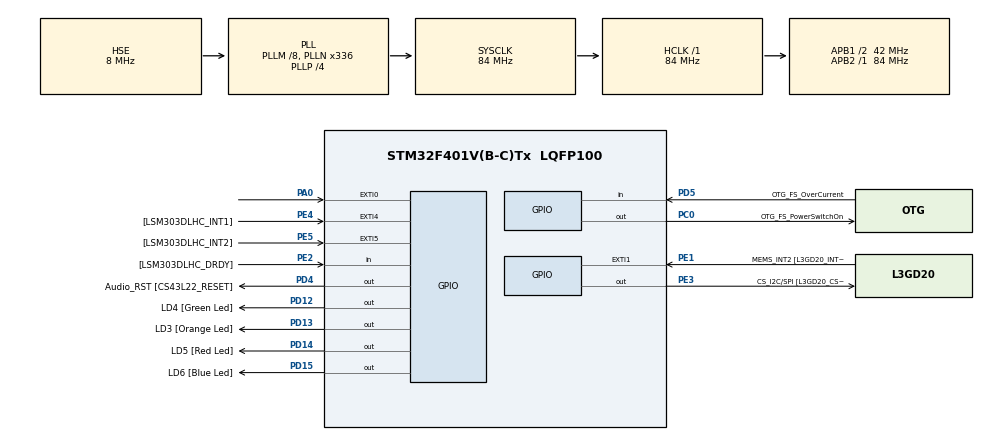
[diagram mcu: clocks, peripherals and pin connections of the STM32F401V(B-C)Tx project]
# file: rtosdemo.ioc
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Mcu.Family=STM32F4
Mcu.Name=STM32F401V(B-C)Tx
Mcu.Package=LQFP100
NVIC.EXTI0_IRQn=true\:0\:0\:false
NVIC.PriorityGroup=NVIC_PRIORITYGROUP_0
PA0-WKUP.Signal=GPXTI0
PA10.GPIO_Label=OTG_FS_ID
PA10.GPIO_Mode=GPIO_MODE_AF_PP
PA10.GPIO_PuPd=GPIO_NOPULL
PA10.GPIO_Speed=GPIO_SPEED_HIGH
PA10.Signal=USB_OTG_FS_ID
PA11.GPIO_Label=OTG_FS_DM
PA11.GPIO_Mode=GPIO_MODE_AF_PP
PA11.GPIO_PuPd=GPIO_NOPULL
PA11.GPIO_Speed=GPIO_SPEED_HIGH
PA11.Signal=USB_OTG_FS_DM
PA12.GPIO_Label=OTG_FS_DP
PA12.GPIO_Mode=GPIO_MODE_AF_PP
PA12.GPIO_PuPd=GPIO_NOPULL
PA12.GPIO_Speed=GPIO_SPEED_HIGH
PA12.Signal=USB_OTG_FS_DP
PA13.GPIO_Label=SWDIO
PA13.Signal=SYS_JTMS-SWDIO
PA14.GPIO_Label=SWCLK
PA14.Signal=SYS_JTCK-SWCLK
PA4.GPIO_Label=I2S3_WS [CS43L22_LRCK]
PA4.GPIO_Mode=GPIO_MODE_AF_PP
PA4.GPIO_PuPd=GPIO_NOPULL
PA4.GPIO_Speed=GPIO_SPEED_LOW
PA4.Signal=I2S3_WS
PA5.GPIO_Label=SPI1_SCK [L3GD20_SC/SPC]
PA5.GPIO_Mode=GPIO_MODE_AF_PP
PA5.GPIO_PuPd=GPIO_NOPULL
PA5.GPIO_Speed=GPIO_SPEED_HIGH
PA5.Signal=SPI1_SCK
PA6.GPIO_Label=SPI1_MISO [L3GD20_AS0/SDO]
PA6.GPIO_Mode=GPIO_MODE_AF_PP
PA6.GPIO_PuPd=GPIO_NOPULL
PA6.GPIO_Speed=GPIO_SPEED_HIGH
PA6.Signal=SPI1_MISO
PA7.GPIO_Label=SPI1_MISO [L3GD20_SDA/SDI/SDO]
PA7.GPIO_Mode=GPIO_MODE_AF_PP
PA7.GPIO_PuPd=GPIO_NOPULL
PA7.GPIO_Speed=GPIO_SPEED_HIGH
PA7.Signal=SPI1_MOSI
PA9.GPIO_Label=VBUS_FS
PA9.GPIO_Mode=GPIO_MODE_INPUT
PA9.GPIO_PuPd=GPIO_NOPULL
PA9.Signal=USB_OTG_FS_VBUS
PB10.GPIO_Label=CLK_IN [MP45DT02_CLK]
PB10.GPIO_Mode=GPIO_MODE_AF_PP
PB10.GPIO_PuPd=GPIO_NOPULL
PB10.GPIO_Speed=GPIO_SPEED_LOW
PB10.Signal=I2S2_CK
PB12.Signal=I2S2_WS
PB3.GPIO_Label=SWO
PB3.Signal=SYS_JTDO-SWO
PB6.GPIO_Label=Audio_SCL [CS43L22_SCL]
PB6.GPIO_Mode=GPIO_MODE_AF_OD
PB6.GPIO_PuPd=GPIO_NOPULL
PB6.GPIO_PuPdOD=GPIO_PULLUP
PB6.GPIO_Speed=GPIO_SPEED_LOW
PB6.Signal=I2C1_SCL
PB9.GPIO_Label=Audio_SDA [CS43L22_SDA]
PB9.GPIO_Mode=GPIO_MODE_AF_OD
PB9.GPIO_PuPd=GPIO_NOPULL
PB9.GPIO_PuPdOD=GPIO_PULLUP
PB9.GPIO_Speed=GPIO_SPEED_LOW
PB9.Signal=I2C1_SDA
PC0.GPIO_Label=OTG_FS_PowerSwitchOn
PC0.GPIO_ModeDefaultOutputPP=GPIO_MODE_OUTPUT_PP
PC0.GPIO_PuPd=GPIO_NOPULL
PC0.GPIO_Speed=GPIO_SPEED_LOW
PC0.Signal=GPIO_Output
PC10.GPIO_Label=I2S3_SCK [CS43L22_SCLK]
PC10.GPIO_Mode=GPIO_MODE_AF_PP
PC10.GPIO_PuPd=GPIO_NOPULL
PC10.GPIO_Speed=GPIO_SPEED_LOW
PC10.Signal=I2S3_CK
PC12.GPIO_Label=I2S3_SD [CS43L22_SDIN]
PC12.GPIO_Mode=GPIO_MODE_AF_PP
PC12.GPIO_PuPd=GPIO_NOPULL
PC12.GPIO_Speed=GPIO_SPEED_LOW
PC12.Signal=I2S3_SD
PC14-OSC32_IN.GPIO_Label=PC14-OSC32_IN
PC14-OSC32_IN.Mode=LSE-External-Oscillator
PC14-OSC32_IN.Signal=RCC_OSC32_IN
PC15-OSC32_OUT.GPIO_Label=PC15-OSC32_OUT
PC15-OSC32_OUT.Mode=LSE-External-Oscillator
PC15-OSC32_OUT.Signal=RCC_OSC32_OUT
PC3.GPIO_Label=PDM_OUT [MP45DT02_DOUT]
PC3.GPIO_Mode=GPIO_MODE_AF_PP
PC3.GPIO_PuPd=GPIO_NOPULL
PC3.GPIO_Speed=GPIO_SPEED_LOW
PC3.Signal=I2S2_SD
PC7.GPIO_Label=I2S3_MCK [CS43L22_MCLK]
PC7.GPIO_Mode=GPIO_MODE_AF_PP
PC7.GPIO_PuPd=GPIO_NOPULL
PC7.GPIO_Speed=GPIO_SPEED_LOW
PC7.Signal=I2S3_MCK
PD12.GPIO_Label=LD4 [Green Led]
PD12.GPIO_ModeDefaultOutputPP=GPIO_MODE_OUTPUT_PP
PD12.GPIO_PuPd=GPIO_NOPULL
PD12.GPIO_Speed=GPIO_SPEED_LOW
PD12.Signal=GPIO_Output
PD13.GPIO_Label=LD3 [Orange Led]
PD13.GPIO_ModeDefaultOutputPP=GPIO_MODE_OUTPUT_PP
PD13.GPIO_PuPd=GPIO_NOPULL
PD13.GPIO_Speed=GPIO_SPEED_LOW
PD13.Signal=GPIO_Output
PD14.GPIO_Label=LD5 [Red Led]
PD14.GPIO_ModeDefaultOutputPP=GPIO_MODE_OUTPUT_PP
PD14.GPIO_PuPd=GPIO_NOPULL
PD14.GPIO_Speed=GPIO_SPEED_LOW
PD14.Signal=GPIO_Output
PD15.GPIO_Label=LD6 [Blue Led]
PD15.GPIO_ModeDefaultOutputPP=GPIO_MODE_OUTPUT_PP
PD15.GPIO_PuPd=GPIO_NOPULL
PD15.GPIO_Speed=GPIO_SPEED_LOW
PD15.Signal=GPIO_Output
PD4.GPIO_Label=Audio_RST [CS43L22_RESET]
PD4.GPIO_ModeDefaultOutputPP=GPIO_MODE_OUTPUT_PP
PD4.GPIO_PuPd=GPIO_NOPULL
PD4.GPIO_Speed=GPIO_SPEED_LOW
PD4.Signal=GPIO_Output
PD5.GPIO_Label=OTG_FS_OverCurrent
PD5.GPIO_Mode=GPIO_MODE_INPUT
PD5.GPIO_PuPd=GPIO_NOPULL
PD5.Signal=GPIO_Input
PE1.GPIO_Label=MEMS_INT2 [L3GD20_INT2]
PE1.GPIO_ModeDefaultEXTI=GPIO_MODE_EVT_RISING
PE1.GPIO_PuPd=GPIO_NOPULL
PE1.Signal=GPXTI1
PE2.GPIO_Label=[LSM303DLHC_DRDY]
PE2.GPIO_Mode=GPIO_MODE_INPUT
PE2.GPIO_PuPd=GPIO_NOPULL
PE2.Signal=GPIO_Input
PE3.GPIO_Label=CS_I2C/SPI [L3GD20_CS_I2C/SPI]
PE3.GPIO_ModeDefaultOutputPP=GPIO_MODE_OUTPUT_PP
PE3.GPIO_PuPd=GPIO_NOPULL
PE3.GPIO_Speed=GPIO_SPEED_LOW
PE3.Signal=GPIO_Output
PE4.GPIO_Label=[LSM303DLHC_INT1]
PE4.GPIO_ModeDefaultEXTI=GPIO_MODE_EVT_RISING
PE4.GPIO_PuPd=GPIO_NOPULL
PE4.Signal=GPXTI4
PE5.GPIO_Label=[LSM303DLHC_INT2]
PE5.GPIO_ModeDefaultEXTI=GPIO_MODE_EVT_RISING
PE5.GPIO_PuPd=GPIO_NOPULL
PE5.Signal=GPXTI5
PH0\ -\ OSC_IN.GPIO_Label=PH0-OSC_IN
PH0\ -\ OSC_IN.Mode=HSE-External-Oscillator
PH0\ -\ OSC_IN.Signal=RCC_OSC_IN
PH1\ -\ OSC_OUT.GPIO_Label=PH1-OSC_OUT
PH1\ -\ OSC_OUT.Mode=HSE-External-Oscillator
PH1\ -\ OSC_OUT.Signal=RCC_OSC_OUT
ProjectManager.TargetToolchain=MDK-ARM V5
RCC.AHBFreq_Value=84000000
RCC.APB1CLKDivider=RCC_HCLK_DIV2
RCC.APB1Freq_Value=42000000
RCC.APB1TimFreq_Value=84000000
RCC.APB2Freq_Value=84000000
RCC.APB2TimFreq_Value=84000000
RCC.CortexFreq_Value=84000000
RCC.HCLKFreq_Value=84000000
RCC.HSE_VALUE=8000000
RCC.HSI_VALUE=16000000
RCC.PLLM=8
RCC.PLLN=336
RCC.PLLP=RCC_PLLP_DIV4
RCC.PLLQ=7
RCC.PLLSourceVirtual=RCC_PLLSOURCE_HSE
RCC.SYSCLKFreq_VALUE=84000000
RCC.SYSCLKSource=RCC_SYSCLKSOURCE_PLLCLK
RCC.VCOOutputFreq_Value=336000000
board=STM32F401C-DISCO

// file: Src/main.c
/**
  ******************************************************************************
  * File Name          : main.c
  * Description        : Main program body
  ******************************************************************************
  *
  * COPYRIGHT(c) 2015 STMicroelectronics
  *
  * Redistribution and use in source and binary forms, with or without modification,
  * are permitted provided that the following conditions are met:
  *   1. Redistributions of source code must retain the above copyright notice,
  *      this list of conditions and the following disclaimer.
  *   2. Redistributions in binary form must reproduce the above copyright notice,
  *      this list of conditions and the following disclaimer in the documentation
  *      and/or other materials provided with the distribution.
  *   3. Neither the name of STMicroelectronics nor the names of its contributors
  *      may be used to endorse or promote products derived from this software
  *      without specific prior written permission.
  *
  * THIS SOFTWARE IS PROVIDED BY THE COPYRIGHT HOLDERS AND CONTRIBUTORS "AS IS"
  * AND ANY EXPRESS OR IMPLIED WARRANTIES, INCLUDING, BUT NOT LIMITED TO, THE
  * IMPLIED WARRANTIES OF MERCHANTABILITY AND FITNESS FOR A PARTICULAR PURPOSE ARE
  * DISCLAIMED. IN NO EVENT SHALL THE COPYRIGHT HOLDER OR CONTRIBUTORS BE LIABLE
  * FOR ANY DIRECT, INDIRECT, INCIDENTAL, SPECIAL, EXEMPLARY, OR CONSEQUENTIAL
  * DAMAGES (INCLUDING, BUT NOT LIMITED TO, PROCUREMENT OF SUBSTITUTE GOODS OR
  * SERVICES; LOSS OF USE, DATA, OR PROFITS; OR BUSINESS INTERRUPTION) HOWEVER
  * CAUSED AND ON ANY THEORY OF LIABILITY, WHETHER IN CONTRACT, STRICT LIABILITY,
  * OR TORT (INCLUDING NEGLIGENCE OR OTHERWISE) ARISING IN ANY WAY OUT OF THE USE
  * OF THIS SOFTWARE, EVEN IF ADVISED OF THE POSSIBILITY OF SUCH DAMAGE.
  *
  ******************************************************************************
  */
#include "stm32f4xx_hal.h"

/* USER CODE BEGIN Includes */
#include "FreeRTOS.h"
#include "task.h"
/* USER CODE END Includes */

/* USER CODE BEGIN PV */
/* Private variables ---------------------------------------------------------*/

/* USER CODE END PV */

void SystemClock_Config(void);
static void MX_GPIO_Init(void);

/* USER CODE BEGIN PFP */
/* Private function prototypes -----------------------------------------------*/
static void StartDefaultTask(void const * argument);
static void StartTask02(void const * argument);
static void StartTask03(void const * argument);
/* USER CODE END PFP */

int main(void)
{

  /* MCU Configuration----------------------------------------------------------*/

  /* Reset of all peripherals, Initializes the Flash interface and the Systick. */
  HAL_Init();

  /* Configure the system clock */
  SystemClock_Config();

  /* Initialize all configured peripherals */
  MX_GPIO_Init();

  /* USER CODE BEGIN 2 */
	xTaskCreate( (TaskFunction_t) StartDefaultTask, "LED", configMINIMAL_STACK_SIZE, NULL, tskIDLE_PRIORITY, NULL );
	xTaskCreate( (TaskFunction_t)StartTask02, "LED4", configMINIMAL_STACK_SIZE, NULL, tskIDLE_PRIORITY+1, NULL );
	xTaskCreate( (TaskFunction_t)StartTask03, "LED3", configMINIMAL_STACK_SIZE, NULL, tskIDLE_PRIORITY+1, NULL );

	vTaskStartScheduler();
  /* USER CODE END 2 */

  /* Infinite loop */
  while (1)
  {

  }

}

/** System Clock Configuration
*/
void SystemClock_Config(void)
{

  RCC_OscInitTypeDef RCC_OscInitStruct;
  RCC_ClkInitTypeDef RCC_ClkInitStruct;

  __PWR_CLK_ENABLE();

  __HAL_PWR_VOLTAGESCALING_CONFIG(PWR_REGULATOR_VOLTAGE_SCALE1);

  RCC_OscInitStruct.OscillatorType = RCC_OSCILLATORTYPE_HSE;
  RCC_OscInitStruct.HSEState = RCC_HSE_ON;
  RCC_OscInitStruct.PLL.PLLState = RCC_PLL_ON;
  RCC_OscInitStruct.PLL.PLLSource = RCC_PLLSOURCE_HSE;
  RCC_OscInitStruct.PLL.PLLM = 8;
  RCC_OscInitStruct.PLL.PLLN = 336;
  RCC_OscInitStruct.PLL.PLLP = RCC_PLLP_DIV4;
  RCC_OscInitStruct.PLL.PLLQ = 7;
  HAL_RCC_OscConfig(&RCC_OscInitStruct);

  RCC_ClkInitStruct.ClockType = RCC_CLOCKTYPE_SYSCLK|RCC_CLOCKTYPE_PCLK1;
  RCC_ClkInitStruct.SYSCLKSource = RCC_SYSCLKSOURCE_PLLCLK;
  RCC_ClkInitStruct.AHBCLKDivider = RCC_SYSCLK_DIV1;
  RCC_ClkInitStruct.APB1CLKDivider = RCC_HCLK_DIV2;
  RCC_ClkInitStruct.APB2CLKDivider = RCC_HCLK_DIV1;
  HAL_RCC_ClockConfig(&RCC_ClkInitStruct, FLASH_LATENCY_2);

  HAL_SYSTICK_Config(HAL_RCC_GetHCLKFreq()/1000);

  HAL_SYSTICK_CLKSourceConfig(SYSTICK_CLKSOURCE_HCLK);

}

/** Configure pins as
        * Analog
        * Input
        * Output
        * EVENT_OUT
        * EXTI
     PC3   ------> I2S2_SD
     PA4   ------> I2S3_WS
     PA5   ------> SPI1_SCK
     PA6   ------> SPI1_MISO
     PA7   ------> SPI1_MOSI
     PB10   ------> I2S2_CK
     PB12   ------> I2S2_WS
     PC7   ------> I2S3_MCK
     PA9   ------> USB_OTG_FS_VBUS
     PA10   ------> USB_OTG_FS_ID
     PA11   ------> USB_OTG_FS_DM
     PA12   ------> USB_OTG_FS_DP
     PC10   ------> I2S3_CK
     PC12   ------> I2S3_SD
     PB6   ------> I2C1_SCL
     PB9   ------> I2C1_SDA
*/
void MX_GPIO_Init(void)
{

  GPIO_InitTypeDef GPIO_InitStruct;

  /* GPIO Ports Clock Enable */
  __GPIOE_CLK_ENABLE();
  __GPIOC_CLK_ENABLE();
  __GPIOH_CLK_ENABLE();
  __GPIOA_CLK_ENABLE();
  __GPIOB_CLK_ENABLE();
  __GPIOD_CLK_ENABLE();

  /*Configure GPIO pin : PE2 */
  GPIO_InitStruct.Pin = GPIO_PIN_2;
  GPIO_InitStruct.Mode = GPIO_MODE_INPUT;
  GPIO_InitStruct.Pull = GPIO_NOPULL;
  HAL_GPIO_Init(GPIOE, &GPIO_InitStruct);

  /*Configure GPIO pin : PE3 */
  GPIO_InitStruct.Pin = GPIO_PIN_3;
  GPIO_InitStruct.Mode = GPIO_MODE_OUTPUT_PP;
  GPIO_InitStruct.Pull = GPIO_NOPULL;
  GPIO_InitStruct.Speed = GPIO_SPEED_LOW;
  HAL_GPIO_Init(GPIOE, &GPIO_InitStruct);

  /*Configure GPIO pins : PE4 PE5 PE1 */
  GPIO_InitStruct.Pin = GPIO_PIN_4|GPIO_PIN_5|GPIO_PIN_1;
  GPIO_InitStruct.Mode = GPIO_MODE_EVT_RISING;
  GPIO_InitStruct.Pull = GPIO_NOPULL;
  HAL_GPIO_Init(GPIOE, &GPIO_InitStruct);

  /*Configure GPIO pin : PC0 */
  GPIO_InitStruct.Pin = GPIO_PIN_0;
  GPIO_InitStruct.Mode = GPIO_MODE_OUTPUT_PP;
  GPIO_InitStruct.Pull = GPIO_NOPULL;
  GPIO_InitStruct.Speed = GPIO_SPEED_LOW;
  HAL_GPIO_Init(GPIOC, &GPIO_InitStruct);

  /*Configure GPIO pin : PC3 */
  GPIO_InitStruct.Pin = GPIO_PIN_3;
  GPIO_InitStruct.Mode = GPIO_MODE_AF_PP;
  GPIO_InitStruct.Pull = GPIO_NOPULL;
  GPIO_InitStruct.Speed = GPIO_SPEED_LOW;
  GPIO_InitStruct.Alternate = GPIO_AF5_SPI2;
  HAL_GPIO_Init(GPIOC, &GPIO_InitStruct);

  /*Configure GPIO pin : PA0 */
  GPIO_InitStruct.Pin = GPIO_PIN_0;
  GPIO_InitStruct.Mode = GPIO_MODE_IT_RISING;
  GPIO_InitStruct.Pull = GPIO_NOPULL;
  HAL_GPIO_Init(GPIOA, &GPIO_InitStruct);

  /*Configure GPIO pin : PA4 */
  GPIO_InitStruct.Pin = GPIO_PIN_4;
  GPIO_InitStruct.Mode = GPIO_MODE_AF_PP;
  GPIO_InitStruct.Pull = GPIO_NOPULL;
  GPIO_InitStruct.Speed = GPIO_SPEED_LOW;
  GPIO_InitStruct.Alternate = GPIO_AF6_SPI3;
  HAL_GPIO_Init(GPIOA, &GPIO_InitStruct);

  /*Configure GPIO pins : PA5 PA6 PA7 */
  GPIO_InitStruct.Pin = GPIO_PIN_5|GPIO_PIN_6|GPIO_PIN_7;
  GPIO_InitStruct.Mode = GPIO_MODE_AF_PP;
  GPIO_InitStruct.Pull = GPIO_NOPULL;
  GPIO_InitStruct.Speed = GPIO_SPEED_HIGH;
  GPIO_InitStruct.Alternate = GPIO_AF5_SPI1;
  HAL_GPIO_Init(GPIOA, &GPIO_InitStruct);

  /*Configure GPIO pins : PB10 PB12 */
  GPIO_InitStruct.Pin = GPIO_PIN_10|GPIO_PIN_12;
  GPIO_InitStruct.Mode = GPIO_MODE_AF_PP;
  GPIO_InitStruct.Pull = GPIO_NOPULL;
  GPIO_InitStruct.Speed = GPIO_SPEED_LOW;
  GPIO_InitStruct.Alternate = GPIO_AF5_SPI2;
  HAL_GPIO_Init(GPIOB, &GPIO_InitStruct);

  /*Configure GPIO pins : PD12 PD13 PD14 PD15
                           PD4 */
  GPIO_InitStruct.Pin = GPIO_PIN_12|GPIO_PIN_13|GPIO_PIN_14|GPIO_PIN_15
                          |GPIO_PIN_4;
  GPIO_InitStruct.Mode = GPIO_MODE_OUTPUT_PP;
  GPIO_InitStruct.Pull = GPIO_NOPULL;
  GPIO_InitStruct.Speed = GPIO_SPEED_LOW;
  HAL_GPIO_Init(GPIOD, &GPIO_InitStruct);

  /*Configure GPIO pins : PC7 PC10 PC12 */
  GPIO_InitStruct.Pin = GPIO_PIN_7|GPIO_PIN_10|GPIO_PIN_12;
  GPIO_InitStruct.Mode = GPIO_MODE_AF_PP;
  GPIO_InitStruct.Pull = GPIO_NOPULL;
  GPIO_InitStruct.Speed = GPIO_SPEED_LOW;
  GPIO_InitStruct.Alternate = GPIO_AF6_SPI3;
  HAL_GPIO_Init(GPIOC, &GPIO_InitStruct);

  /*Configure GPIO pin : PA9 */
  GPIO_InitStruct.Pin = GPIO_PIN_9;
  GPIO_InitStruct.Mode = GPIO_MODE_INPUT;
  GPIO_InitStruct.Pull = GPIO_NOPULL;
  HAL_GPIO_Init(GPIOA, &GPIO_InitStruct);

  /*Configure GPIO pins : PA10 PA11 PA12 */
  GPIO_InitStruct.Pin = GPIO_PIN_10|GPIO_PIN_11|GPIO_PIN_12;
  GPIO_InitStruct.Mode = GPIO_MODE_AF_PP;
  GPIO_InitStruct.Pull = GPIO_NOPULL;
  GPIO_InitStruct.Speed = GPIO_SPEED_HIGH;
  GPIO_InitStruct.Alternate = GPIO_AF10_OTG_FS;
  HAL_GPIO_Init(GPIOA, &GPIO_InitStruct);

  /*Configure GPIO pin : PD5 */
  GPIO_InitStruct.Pin = GPIO_PIN_5;
  GPIO_InitStruct.Mode = GPIO_MODE_INPUT;
  GPIO_InitStruct.Pull = GPIO_NOPULL;
  HAL_GPIO_Init(GPIOD, &GPIO_InitStruct);

  /*Configure GPIO pins : PB6 PB9 */
  GPIO_InitStruct.Pin = GPIO_PIN_6|GPIO_PIN_9;
  GPIO_InitStruct.Mode = GPIO_MODE_AF_OD;
  GPIO_InitStruct.Pull = GPIO_PULLUP;
  GPIO_InitStruct.Speed = GPIO_SPEED_LOW;
  GPIO_InitStruct.Alternate = GPIO_AF4_I2C1;
  HAL_GPIO_Init(GPIOB, &GPIO_InitStruct);

  /* EXTI interrupt init*/
  HAL_NVIC_SetPriority(EXTI0_IRQn, 0, 0);
  HAL_NVIC_EnableIRQ(EXTI0_IRQn);

}

/* USER CODE BEGIN 4 */
/* StartDefaultTask function */
void StartDefaultTask(void const * argument)
{

  /* Infinite loop */
  for(;;)
  {
    vTaskDelay(1/portTICK_RATE_MS); //osDelay(1);
  }
}

/* StartTask02 function */
void StartTask02(void const * argument)
{
  /* Infinite loop */
  for(;;)
  {
		HAL_GPIO_TogglePin(GPIOD, GPIO_PIN_13);
    vTaskDelay(100/portTICK_RATE_MS);
  }
}

/* StartTask03 function */
void StartTask03(void const * argument)
{
  /* Infinite loop */
  for(;;)
  {
		HAL_GPIO_TogglePin(GPIOD, GPIO_PIN_12);
    vTaskDelay(300/portTICK_RATE_MS);
  }
}
/* USER CODE END 4 */

/************************ (C) COPYRIGHT STMicroelectronics *****END OF FILE****/
